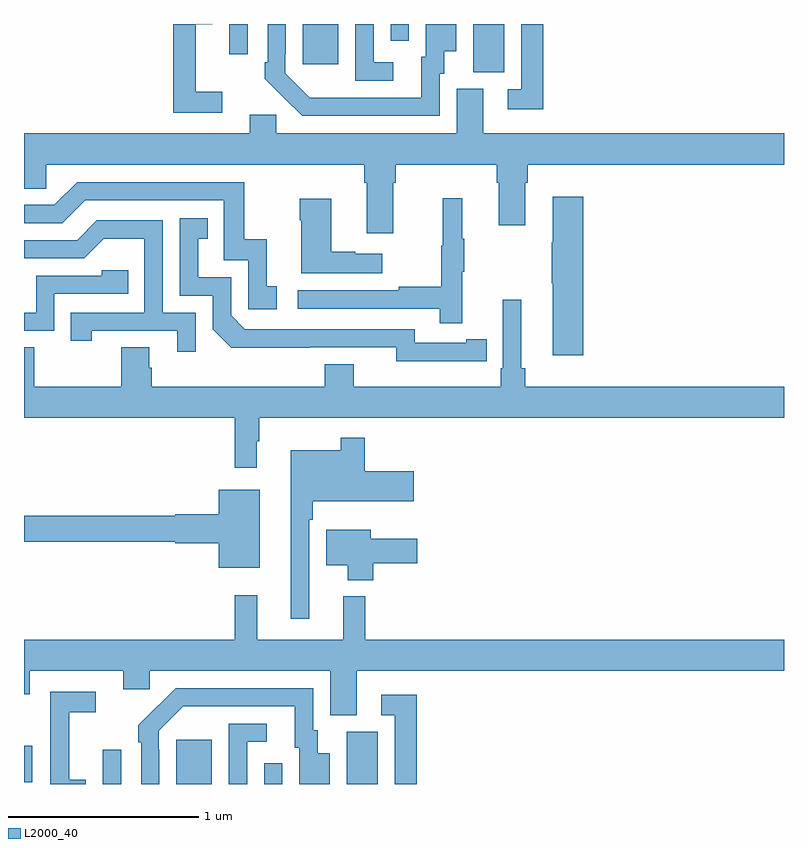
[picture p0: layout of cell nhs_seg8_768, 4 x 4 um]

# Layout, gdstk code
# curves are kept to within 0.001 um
import gdstk
lib = gdstk.Library(unit=1e-6, precision=1e-09)
def R(c, l, rs):  # rectangles x0, y0, x1, y1
    for r in rs: c.add(gdstk.rectangle(r[:2], r[2:], *l))
def P(c, l, *ps):  # polygons
    for p in ps: c.add(gdstk.Polygon(p, *l))
L2000_40 = (2000, 40)

nhs_seg8_768 = lib.new_cell('nhs_seg8_768')
R(nhs_seg8_768, L2000_40, [(161.415,1119.9,161.511,1120.081), (161.801,1119.9,161.989,1120.132), (162.264,1119.9,162.36,1120.009), (162.698,1119.9,162.862,1120.176), (161,1119.908,161.044,1120.102), (163.364,1123.645,163.528,1123.9), (162.467,1123.689,162.655,1123.9), (162.081,1123.74,162.177,1123.9), (162.93,1123.812,163.026,1123.9)])
P(nhs_seg8_768, L2000_40, [(163.188,1123.638),(163.213,1123.638),(163.213,1123.757),(163.276,1123.757),(163.276,1123.9),(163.115,1123.9),(163.115,1123.728),(163.091,1123.728),(163.091,1123.512),(162.504,1123.513),(162.375,1123.641),(162.375,1123.741),(162.378,1123.741),(162.378,1123.9),(162.282,1123.9),(162.282,1123.699),(162.267,1123.699),(162.267,1123.611),(162.464,1123.416),(163.188,1123.416)],
  [(163.733,1123.9),(163.617,1123.9),(163.617,1123.557),(163.545,1123.557),(163.545,1123.452),(163.733,1123.452)],
  [(162.943,1123.698),(162.84,1123.698),(162.84,1123.9),(162.744,1123.9),(162.744,1123.602),(162.943,1123.602)],
  [(162.043,1123.543),(161.903,1123.543),(161.903,1123.898),(161.992,1123.898),(161.992,1123.9),(161.785,1123.9),(161.785,1123.434),(162.043,1123.434)],
  [(162.943,1123.064),(162.956,1123.064),(162.956,1123.16),(163.487,1123.16),(163.487,1123.064),(163.499,1123.064),(163.499,1122.84),(163.639,1122.84),(163.639,1123.064),(163.652,1123.064),(163.652,1123.16),(165,1123.16),(165,1123.324),(163.417,1123.324),(163.417,1123.56),(163.277,1123.56),(163.277,1123.324),(162.327,1123.324),(162.327,1123.422),(162.188,1123.422),(162.188,1123.324),(161,1123.324),(161,1123.033),(161.118,1123.033),(161.118,1123.16),(162.791,1123.16),(162.791,1123.064),(162.803,1123.064),(162.803,1122.798),(162.943,1122.798)],
  [(162.331,1122.519),(162.278,1122.519),(162.278,1122.766),(162.16,1122.766),(162.16,1123.068),(161.28,1123.068),(161.16,1122.948),(161,1122.948),(161,1122.852),(161.202,1122.852),(161.322,1122.972),(162.051,1122.972),(162.051,1122.657),(162.18,1122.657),(162.18,1122.399),(162.331,1122.399)],
  [(163.943,1122.991),(163.784,1122.991),(163.784,1122.752),(163.777,1122.752),(163.777,1122.535),(163.784,1122.535),(163.784,1122.156),(163.943,1122.156)],
  [(163.307,1122.595),(163.318,1122.595),(163.318,1122.769),(163.307,1122.769),(163.307,1122.982),(163.204,1122.982),(163.204,1122.732),(163.197,1122.732),(163.197,1122.518),(162.973,1122.518),(162.973,1122.498),(162.441,1122.498),(162.441,1122.402),(163.189,1122.402),(163.189,1122.324),(163.307,1122.324)],
  [(162.886,1122.691),(162.743,1122.691),(162.743,1122.701),(162.616,1122.701),(162.616,1122.979),(162.451,1122.979),(162.451,1122.866),(162.458,1122.866),(162.458,1122.587),(162.886,1122.587)],
  [(163.328,1122.126),(163.436,1122.126),(163.436,1122.242),(163.328,1122.242),(163.328,1122.222),(163.056,1122.222),(163.056,1122.294),(162.162,1122.294),(162.09,1122.366),(162.09,1122.567),(161.917,1122.567),(161.917,1122.771),(161.966,1122.771),(161.966,1122.877),(161.82,1122.877),(161.82,1122.471),(161.994,1122.471),(161.994,1122.294),(162.092,1122.197),(162.96,1122.198),(162.96,1122.125)],
  [(161.904,1122.381),(161.73,1122.381),(161.73,1122.867),(161.384,1122.867),(161.279,1122.762),(161,1122.762),(161,1122.666),(161.316,1122.666),(161.42,1122.77),(161.634,1122.77),(161.634,1122.381),(161.245,1122.381),(161.245,1122.234),(161.356,1122.234),(161.356,1122.285),(161.807,1122.285),(161.807,1122.174),(161.904,1122.174)],
  [(161.16,1122.48),(161.549,1122.48),(161.549,1122.603),(161.409,1122.603),(161.409,1122.576),(161.064,1122.576),(161.064,1122.381),(161,1122.381),(161,1122.285),(161.16,1122.285)],
  [(162.226,1121.705),(162.238,1121.705),(162.238,1121.828),(165,1121.828),(165,1121.992),(163.637,1121.992),(163.637,1122.088),(163.618,1122.088),(163.618,1122.448),(163.521,1122.448),(163.521,1122.088),(163.508,1122.088),(163.508,1121.992),(162.736,1121.992),(162.736,1122.109),(162.584,1122.109),(162.584,1121.992),(161.672,1121.992),(161.672,1122.09),(161.659,1122.09),(161.659,1122.2),(161.512,1122.2),(161.512,1121.992),(161.055,1121.992),(161.055,1122.2),(161,1122.2),(161,1121.828),(162.109,1121.828),(162.109,1121.565),(162.226,1121.565)],
  [(162.501,1121.291),(162.521,1121.291),(162.521,1121.387),(163.051,1121.387),(163.051,1121.545),(162.794,1121.545),(162.794,1121.722),(162.666,1121.722),(162.666,1121.656),(162.404,1121.656),(162.404,1120.77),(162.501,1120.77)],
  [(162.241,1121.449),(162.026,1121.449),(162.026,1121.32),(161.796,1121.32),(161.796,1121.312),(161,1121.312),(161,1121.176),(161.796,1121.176),(161.796,1121.168),(162.026,1121.168),(162.026,1121.039),(162.241,1121.039)],
  [(162.839,1121.062),(163.069,1121.062),(163.069,1121.191),(162.826,1121.191),(162.826,1121.239),(162.59,1121.239),(162.59,1121.051),(162.704,1121.051),(162.704,1120.973),(162.839,1120.973)],
  [(161,1120.372),(161.029,1120.372),(161.029,1120.496),(161.522,1120.496),(161.522,1120.398),(161.661,1120.398),(161.661,1120.496),(162.611,1120.496),(162.611,1120.261),(162.751,1120.261),(162.751,1120.496),(165,1120.496),(165,1120.66),(162.797,1120.66),(162.797,1120.888),(162.68,1120.888),(162.68,1120.66),(162.227,1120.66),(162.227,1120.894),(162.109,1120.894),(162.109,1120.66),(161,1120.66)],
  [(161.712,1120.079),(161.709,1120.079),(161.709,1120.179),(161.838,1120.308),(162.425,1120.308),(162.425,1120.092),(162.449,1120.092),(162.449,1119.9),(162.61,1119.9),(162.61,1120.063),(162.547,1120.063),(162.547,1120.182),(162.522,1120.182),(162.522,1120.404),(161.798,1120.404),(161.601,1120.209),(161.601,1120.121),(161.616,1120.121),(161.616,1119.9),(161.712,1119.9)],
  [(161.326,1119.922),(161.237,1119.922),(161.237,1120.278),(161.377,1120.278),(161.377,1120.386),(161.139,1120.386),(161.139,1119.9),(161.326,1119.9)],
  [(163.067,1120.369),(162.879,1120.369),(162.879,1120.263),(162.951,1120.263),(162.951,1119.9),(163.067,1119.9)],
  [(162.174,1120.122),(162.277,1120.122),(162.277,1120.218),(162.078,1120.218),(162.078,1119.9),(162.174,1119.9)])

lib.write_gds('nhs_seg8_768.gds')
